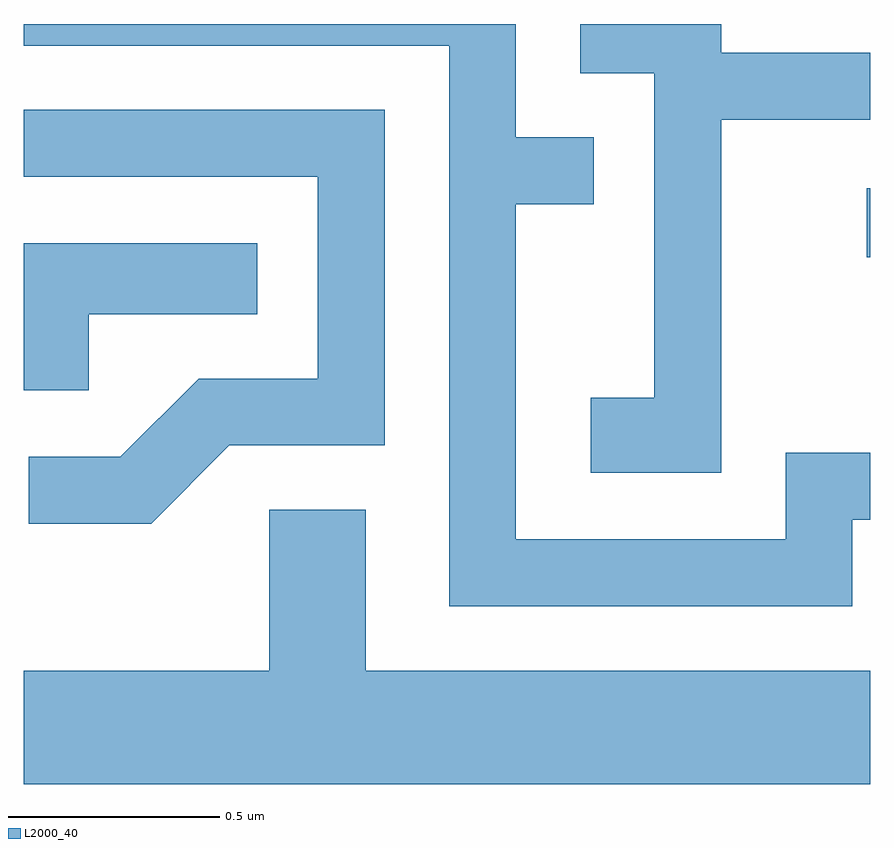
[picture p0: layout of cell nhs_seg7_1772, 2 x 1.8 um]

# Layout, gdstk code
import gdstk
lib = gdstk.Library(unit=1e-6, precision=1e-09)
def R(c, l, rs):  # rectangles x0, y0, x1, y1
    for r in rs: c.add(gdstk.rectangle(r[:2], r[2:], *l))
def P(c, l, *ps):  # polygons
    for p in ps: c.add(gdstk.Polygon(p, *l))
L2000_40 = (2000, 40)

nhs_seg7_1772 = lib.new_cell('nhs_seg7_1772')
R(nhs_seg7_1772, L2000_40, [(199.603,1797.701,199.611,1797.864)])
P(nhs_seg7_1772, L2000_40, [(199.569,1797.081),(199.611,1797.081),(199.611,1797.239),(199.411,1797.239),(199.411,1797.034),(198.774,1797.034),(198.774,1797.826),(198.958,1797.826),(198.958,1797.984),(198.774,1797.984),(198.774,1798.252),(197.611,1798.252),(197.611,1798.201),(198.616,1798.201),(198.616,1796.876),(199.569,1796.876)],
  [(199.259,1798.026),(199.611,1798.026),(199.611,1798.184),(199.259,1798.184),(199.259,1798.252),(198.926,1798.252),(198.926,1798.136),(199.101,1798.136),(199.101,1797.369),(198.951,1797.369),(198.951,1797.191),(199.259,1797.191)],
  [(198.097,1797.256),(198.464,1797.256),(198.464,1798.049),(197.611,1798.049),(197.611,1797.891),(198.306,1797.891),(198.306,1797.414),(198.024,1797.414),(197.839,1797.229),(197.623,1797.229),(197.623,1797.071),(197.912,1797.071)],
  [(197.764,1797.566),(198.163,1797.566),(198.163,1797.734),(197.611,1797.734),(197.611,1797.386),(197.764,1797.386)],
  [(199.611,1796.724),(198.419,1796.724),(198.419,1797.104),(198.191,1797.104),(198.191,1796.724),(197.611,1796.724),(197.611,1796.456),(199.611,1796.456)])

lib.write_gds('nhs_seg7_1772.gds')
